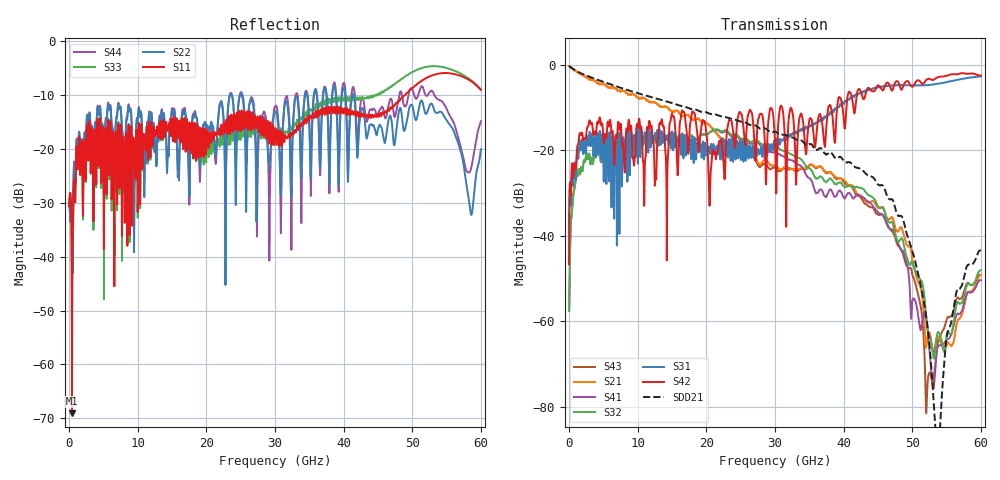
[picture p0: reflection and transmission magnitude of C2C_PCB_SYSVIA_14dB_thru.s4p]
!$Gore$
!C2C PCB Topology at Nominal
!Tuned Ballou BGA and Tuned Mayfield BOR
!Created with Channel Assembly Tool v1.0.4
# Hz S RI R 50
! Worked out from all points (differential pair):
!   6000 points, 10 MHz to 60 GHz, reference 50 ohm
!   strongest paths, dB at 10 MHz, 15.01 GHz, 30.01 GHz, 45.01 GHz, 60 GHz:
!     S42: -46.7, -11.4, -18.1, -4.7, -2.5
!     S31: -46.7, -15.6, -20.0, -5.1, -2.7
!     S32: -57.6, -17.0, -19.0, -33.1, -48.1
!     S41: -57.6, -17.3, -20.4, -34.5, -50.4
!     S21: -0.3, -10.9, -23.5, -33.5, -49.1
!     S43: -0.3, -10.9, -24.1, -35.1, -49.2
!   taken as a pair (ports 1,3 in; 2,4 out), SDD21 dB: -0.3, -8.9, -15.6, -28.0, -43.3
!   lowest |S11| = -69.1 dB at 430 MHz (marker M1), VSWR 1.00, Z = 50 + j0.016 ohm
!   |S11| at or under -10 dB: start of sweep to 48.98 GHz
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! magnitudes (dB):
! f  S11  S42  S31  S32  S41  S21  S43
! 10 MHz  -30.6  -46.7  -46.7  -57.6  -57.6  -0.3  -0.3
! 430 MHz  -69.1  -23.1  -23.4  -34.3  -34.2  -0.8  -0.8
! 21.4 GHz  -17.4  -22.1  -19.3  -15.1  -15.2  -15.8  -15.7
! 41.11 GHz  -13.5  -7.0  -7.7  -28.5  -30.6  -28.1  -28.4
! 49.96 GHz  -8.7  -5.1  -4.8  -46.0  -56.5  -44.8  -48.7
! 52.17 GHz  -6.8  -3.3  -4.7  -61.2  -60.9  -64.1  -76.3
! 60 GHz  -9.1  -2.5  -2.7  -48.1  -50.4  -49.1  -49.2
